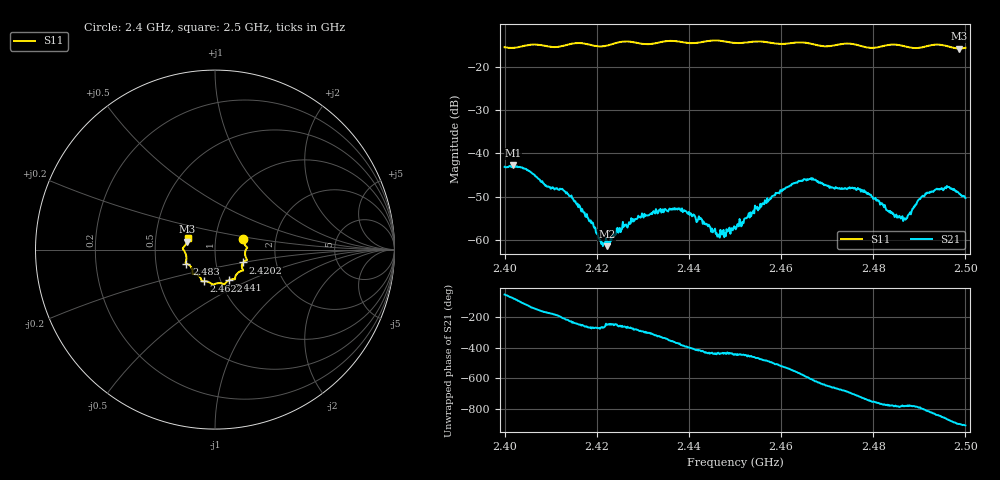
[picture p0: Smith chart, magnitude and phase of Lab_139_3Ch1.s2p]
# Hz S RI R 50
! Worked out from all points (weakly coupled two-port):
!   601 points, 2.4 GHz to 2.5 GHz, reference 50 ohm
!   highest |S21| = -42.77 dB at 2.4018 GHz (marker M1); lowest = -61.4 dB at 2.4222 GHz (marker M2)
!   lowest |S11| = -15.8 dB at 2.4987 GHz (marker M3), VSWR 1.39, Z = 36.4 + j3.29 ohm
!   |S11| at or under -10 dB: start of sweep to end of sweep
!   S12 and S22 are empty: the file has one direction only
!   S11 on the Smith chart (normalised r, x): 2.4 GHz: 1.36, +0.17; 2.4202 GHz: 1.35, -0.20; 2.441 GHz: 1.10, -0.39; 2.4622 GHz: 0.83, -0.30; 2.483 GHz: 0.72, -0.12; 2.5 GHz: 0.73, +0.09
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2.4e9  0.1566 0.0607  0.00425 -0.00555  0 0  0 0
2.401833e9  0.1604 0.0385  0.00174 -0.00706  0 0  0 0
2.412667e9  0.1697 -0.0375  -0.00337 0.00173  0 0  0 0
2.416667e9  0.1776 -0.0581  -0.000555 0.00206  0 0  0 0
2.420167e9  0.1563 -0.0718  -1.2e-05 0.00119  0 0  0 0
2.422167e9  0.1494 -0.091  -0.000316 0.000788  0 0  0 0
2.428e9  0.1511 -0.1177  0.000324 0.00161  0 0  0 0
2.433333e9  0.113 -0.152  0.00167 0.00121  0 0  0 0
2.438e9  0.1034 -0.1648  0.00226 -0.000468  0 0  0 0
2.441e9  0.0769 -0.1705  0.00135 -0.00143  0 0  0 0
2.446167e9  0.0514 -0.194  0.000284 -0.00106  0 0  0 0
2.45e9  0.0268 -0.1862  0.000238 -0.00138  0 0  0 0
2.462167e9  -0.0631 -0.1762  -0.00426 0.000152  0 0  0 0
2.466667e9  -0.0765 -0.1668  -0.00207 0.00452  0 0  0 0
2.477167e9  -0.125 -0.1219  0.00386 -1.86e-05  0 0  0 0
2.483e9  -0.1591 -0.0779  0.00138 -0.00171  0 0  0 0
2.483333e9  -0.1607 -0.0773  0.00133 -0.0017  0 0  0 0
2.487e9  -0.1605 -0.0595  0.00088 -0.00148  0 0  0 0
2.491833e9  -0.1736 -0.00361  -0.000177 -0.00351  0 0  0 0
2.496e9  -0.1722 0.0158  -0.00348 -0.00236  0 0  0 0
2.498667e9  -0.156 0.044  -0.00341 -0.000215  0 0  0 0
2.5e9  -0.1531 0.0627  -0.00303 0.00034  0 0  0 0
